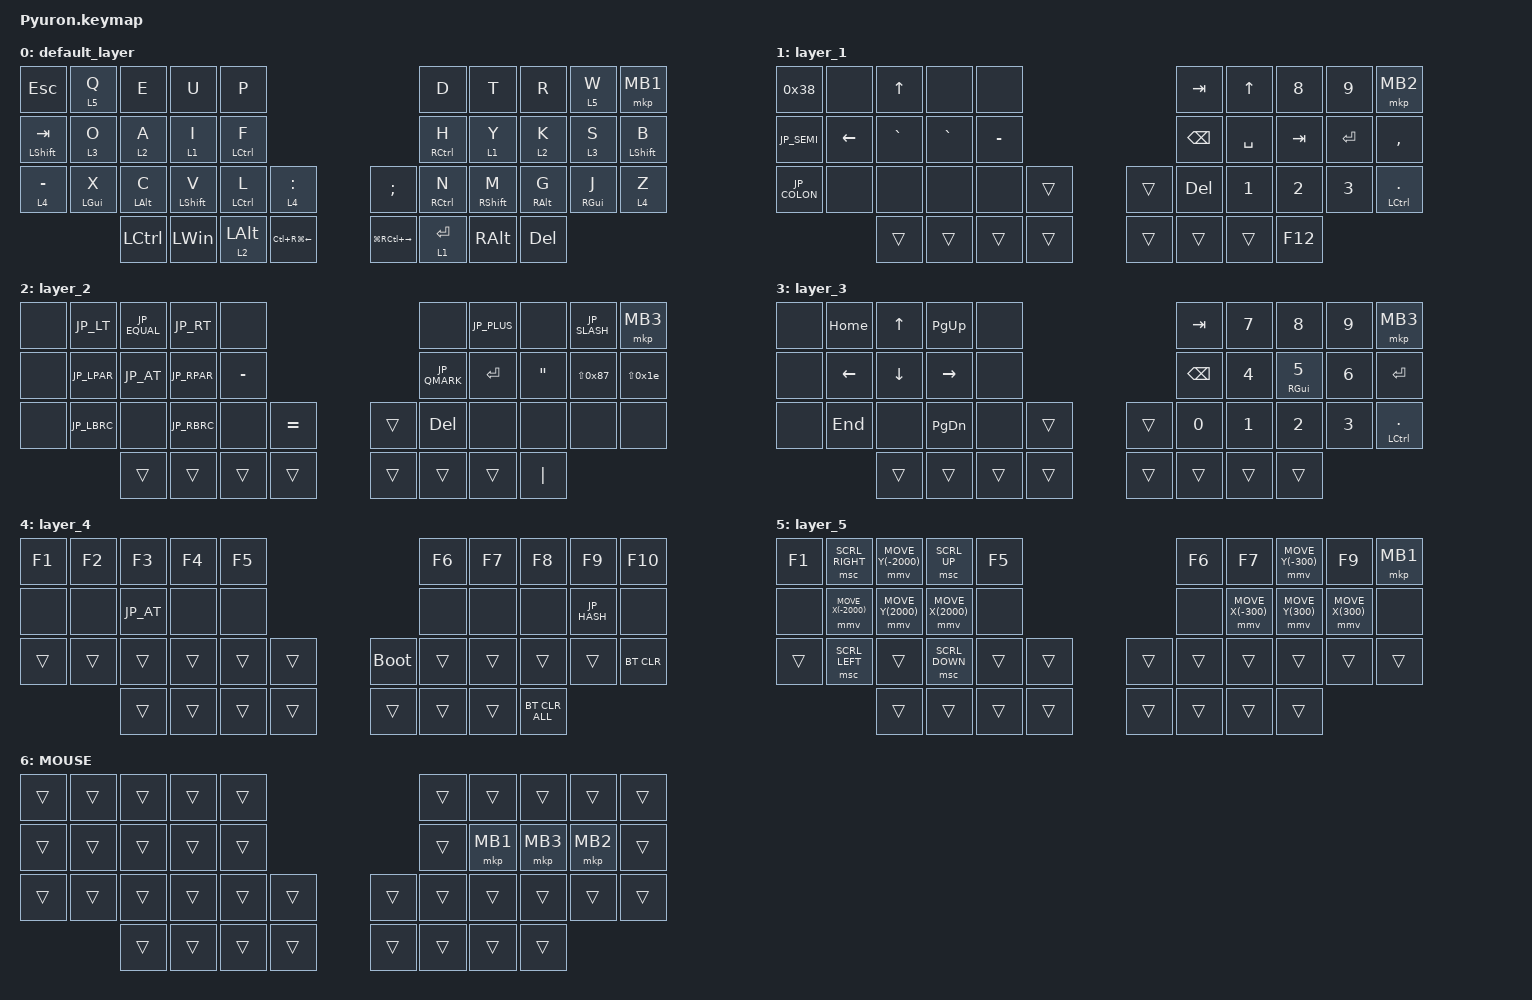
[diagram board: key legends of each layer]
#include <behaviors.dtsi>
#include <dt-bindings/zmk/bt.h>
#include <dt-bindings/zmk/keys.h>
#include <dt-bindings/zmk/pointing.h>
#include "keycode_japanese.h"

#define MOUSE 6

&mt { 
    flavor = "balanced"; 
    tapping-term-ms = <200>;
    quick-tap-ms = <150>; 
};

&lt {
    flavor = "balanced";
    tapping-term-ms = <200>; 
    quick-tap-ms = <150>; 
};

// 複数キーの同時押しに特別の入力を設定できる
    // キー番号早見表：
    // 0  1  2  3  4           5  6  7  8  9
    // 10 11 12 13 14          15 16 17 18 19
    // 20 21 22 23 24 25    26 27 28 29 30 31
    // 32 33       34 35    36 37       38 39



/ {
    combos { compatible = "zmk,combos"; 


        fopen {
            bindings = <&kp LG(N2)>;
            key-positions = <7 9>;
            layers = <0>;
            timeout-ms = <200>;
        };

       bootloader_R {
            bindings = <&bootloader>;
            key-positions = <5 9 36 39>;
            timeout-ms = <200>;
        };

       bootloader_L {
            bindings = <&bootloader>;
            key-positions = <0 4 32 35>;
            timeout-ms = <200>;
        };

        eq {
            bindings = <&bt BT_CLR_ALL>;
            key-positions = <0 10 20 32>;
            timeout-ms = <50>;
            layers = <0>;
        };

        bt0 {
            bindings = <&bt BT_SEL 0>;
            key-positions = <5 15 27>;
            timeout-ms = <50>;
            layers = <0>;
        };





};

    macros {
        to_layer_0: to_layer_0 {
            compatible = "zmk,behavior-macro-one-param";
            #binding-cells = <1>;
            bindings = <&to 0 &macro_param_1to1 &kp MACRO_PLACEHOLDER>;
            label = "TO_LAYER_0";
        };
    };

        lt_to_layer_0: lt_to_layer_0 {
            compatible = "zmk,behavior-hold-tap";
            label = "LAYER_TAP_TO_0";
            bindings = <&mo>, <&to_layer_0>;

            #binding-cells = <2>;
            tapping-term-ms = <200>;
        };
    };




/ {
      keymap {
        compatible = "zmk,keymap";
        default_layer {
            bindings = <
&kp ESCAPE          &lt 5 Q        &kp E      &kp U         &kp P                                               &kp D        &kp T         &kp R       &lt 5 W       &mkp MB1

&mt LSHIFT TAB      &lt 3 O        &lt 2 A      &lt 1 I         &mt LCTRL F                             &mt RCTRL H  &lt 1 Y         &lt 2 K       &lt 3 S       &mt LEFT_SHIFT B

&lt 4 MINUS    &mt LGUI X   &mt LALT C &mt LSHIFT V  &mt LCTRL L              &lt 4 COLON           &kp SEMICOLON  &mt RCTRL N        &mt RSHIFT M  &mt RALT G  &mt RGUI J  &lt 4 Z

&kp LCTRL         &kp LEFT_WIN                                  &lt 2 LEFT_ALT   &kp LC(RG(LEFT))        &kp LG(RC(RIGHT))   &lt 1 ENTER                    &kp RIGHT_ALT &kp DEL
            >;
        };

        layer_1 {
            bindings = <
&kp 0x38     &none      &kp UP     &none       &none                                 &kp TAB          &kp UP          &kp N8        &kp N9         &mkp MB2

&kp JP_SEMI  &kp LEFT   &kp GRAVE  &kp GRAVE   &kp MINUS                             &kp BACKSPACE  &kp SPACE       &kp TAB       &kp ENTER      &kp COMMA 

&kp JP_COLON &none      &none      &none       &none  &trans                 &trans  &kp DELETE     &kp N1          &kp N2        &kp N3         &mt LCTRL PERIOD
&trans  &trans                  &trans  &trans    &trans  &trans                  &trans  &kp F12
            >;
        };

        layer_2 {
            bindings = <
&none        &kp JP_LT      &kp JP_EQUAL   &kp JP_RT  &none                                        &none          &kp JP_PLUS     &none        &kp JP_SLASH  &mkp MB3

&none        &kp JP_LPAR    &kp JP_AT      &kp JP_RPAR   &kp MINUS                                 &kp JP_QMARK   &kp ENTER  &kp DOUBLE_QUOTES &kp LS(0x87)  &kp LS(0x1e)

&none        &kp JP_LBRC    &none          &kp JP_RBRC   &none          &kp EQUAL                  &trans          &kp DELETE          &none           &none         &none         &none
&trans                      &trans                                             &trans        &trans                     &trans          &trans                                               &trans                &kp PIPE
            >;
        };

        layer_3 {
            bindings = <
&none        &kp HOME   &kp UP     &kp PAGE_UP      &none                                 &kp TAB          &kp N7          &kp N8        &kp N9         &mkp MB3

&none        &kp LEFT   &kp DOWN   &kp RIGHT        &none                                 &kp BACKSPACE  &kp N4          &mt RGUI N5        &kp N6         &kp ENTER

&none        &kp END    &none      &kp PAGE_DOWN    &none   &trans                &trans   &kp N0         &kp N1          &kp N2        &kp N3         &mt LCTRL PERIOD
&trans          &trans                                                           &trans   &trans    &trans  &trans                  &trans  &trans
            >;
        };

        layer_4 {
            bindings = <
&kp F1  &kp F2  &kp F3  &kp F4  &kp F5                  &kp F6  &kp F7  &kp F8  &kp F9  &kp F10

&none   &none   &kp JP_AT   &none   &none                   &none   &none   &none   &kp JP_HASH   &none

&trans  &trans  &trans  &trans  &trans  &trans    &bootloader  &trans        &trans        &trans        &trans        &bt BT_CLR
&trans  &trans                  &trans  &trans    &trans       &trans                                    &trans        &bt BT_CLR_ALL
            >;
        };

        layer_5 {
            bindings = <
&kp F1  &msc SCRL_RIGHT  &mmv MOVE_Y(-2000)     &msc SCRL_UP  &kp F5                             &kp F6  &kp F7  &mmv MOVE_Y(-300)  &kp F9  &mkp MB1

&none   &mmv MOVE_X(-2000) &mmv MOVE_Y(2000)    &mmv MOVE_X(2000)   &none                   &none    &mmv MOVE_X(-300) &mmv MOVE_Y(300)    &mmv MOVE_X(300)   &none

&trans  &msc SCRL_LEFT   &trans           &msc SCRL_DOWN  &trans           &trans    &trans  &trans  &trans  &trans  &trans  &trans
&trans  &trans                  &trans  &trans    &trans  &trans                  &trans  &trans
            >;
        };

        MOUSE {
            bindings = <
&trans  &trans  &trans  &trans  &trans                    &trans  &trans    &trans    &trans    &trans
&trans  &trans  &trans  &trans  &trans                    &trans  &mkp MB1  &mkp MB3  &mkp MB2  &trans
&trans  &trans  &trans  &trans  &trans  &trans    &trans  &trans  &trans    &trans    &trans    &trans
&trans  &trans                  &trans  &trans    &trans  &trans                      &trans    &trans
            >;
        };
    };
};
